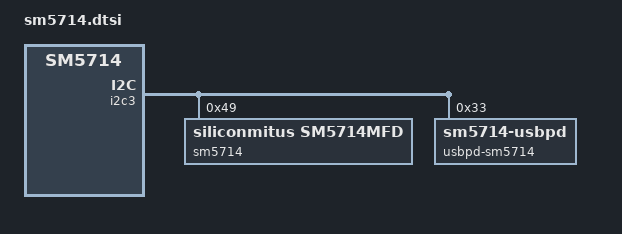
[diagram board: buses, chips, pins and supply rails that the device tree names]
&pio {
	if_pmic_irq: if_pmic_irq {
		pins_cmd_dat {
			pinmux = <MTK_PINMUX(SEC_GPIO_NUM(AP,pio,7), 0)>;
			slew-rate = <1>;
			bias-disable;
		};
	};
	usbpd_irq: usbpd_irq {
		pins_cmd_dat {
			pinmux = <MTK_PINMUX(SEC_GPIO_NUM(AP,pio,0), 0)>;
			slew-rate = <1>;
			bias-disable;
		};
	};
#if 0
	usbpd_vbus_discharging: usbpd_vbus_discharging {
		pins_cmd_dat {
			pinmux = <MTK_PINMUX(SEC_GPIO_NUM(${usbpd_vbus_discharging_gpio}), 0)>;
			slew-rate = <1>;
			bias-disable;
		};
	};
#endif
};

&i2c3 {
	#address-cells = <1>;
	#size-cells = <0>;
	status = "okay";
	samsung,i2c-max-bus-freq = <400000>;
	sm5714@49{
		status = "okay";
		compatible = "siliconmitus,sm5714mfd";
		reg = <0x49>;
		pinctrl-names = "default";
		pinctrl-0 = <&if_pmic_irq>;
		sm5714,irq-gpio = <SEC_GPIO_REF(AP,pio,7) 0>;
		sm5714,wakeup;
	};
};

&i2c3 {
	i2c-gpio,delay-us = <5>;
	#address-cells = <1>;
	#size-cells = <0>;
	status = "okay";
	samsung,i2c-max-bus-freq = <400000>;

	usbpd-sm5714@33 {
		status = "okay";
		compatible = "sm5714-usbpd";
		reg = <0x33>;
		pinctrl-names = "default";
		pinctrl-0 = <&usbpd_irq
#if 0
				&usbpd_vbus_discharging
#endif
		>;
		usbpd,usbpd_int = <SEC_GPIO_REF(AP,pio,0) 0>;
#if 0
		usbpd,vbus_discharging = <SEC_GPIO_REF(${usbpd_vbus_discharging_gpio}) 0>;
#endif
		support_pd_role_swap;
		pdic-manager {
			/* sink */
			pdic,max_power = <5000>;
			pdic_op_power = <2500>;
			pdic_max_voltage = <6000>;
			pdic_max_current = <2000>;
			pdic,min_current = <500>;

			pdic,giveback = <0>;
			pdic,usb_com_capable = <1>;
			pdic,no_usb_suspend = <1>;

			/* source */
			source,max_voltage = <5000>;
			source,min_voltage = <4000>;
			source,max_power = <2500>;
		};
	};
};

